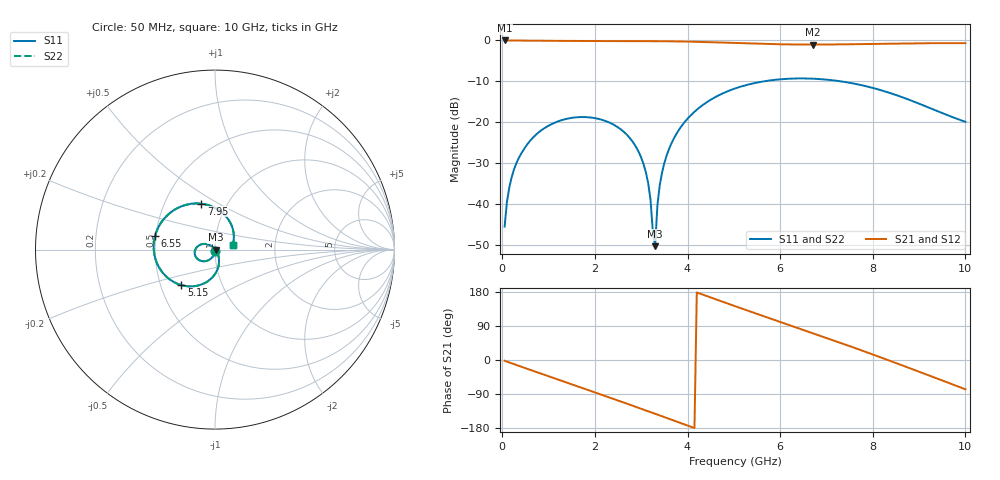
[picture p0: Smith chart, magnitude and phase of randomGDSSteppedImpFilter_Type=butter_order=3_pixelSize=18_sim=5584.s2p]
! freq	dB(S11)	phase(S11)	dB(S12)	phase(S12)
!  dB(S21)	phase(S21)	dB(S22)	phase(S22)
!S-par simulation data
#  GHz  S  DB  R 50
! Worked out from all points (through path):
!   200 points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, 50 MHz to 10 GHz, reference 50 ohm
!   highest |S21| = -0.01 dB at 50 MHz (marker M1); lowest = -1.0 dB at 6.7 GHz (marker M2)
!   group delay of S21, straight-line fit = 121 ps
!   lowest |S11| = -50.4 dB at 3.3 GHz (marker M3), VSWR 1.01, Z = 50.3 - j0.0599 ohm
!   |S11| at or under -10 dB: start of sweep to 5.653 GHz; 7.301 GHz to end of sweep
!   |S22| runs from -49.4 to -9.3 dB; largest |S21 - S12| = 0
!   S11 on the Smith chart (normalised r, x): 50 MHz: 1.00, -0.01; 5.15 GHz: 0.64, -0.27; 6.55 GHz: 0.49, +0.08; 7.95 GHz: 0.76, +0.42; 10 GHz: 1.22, +0.06
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0.05  -45.57 -91.6  -0.01 -2.2  -0.01 -2.2  -45.57 -91.6
0.2  -33.59 -98.2  -0.02 -8.7  -0.02 -8.7  -33.59 -98.2
0.5  -26.06 -111.9  -0.04 -21.6  -0.04 -21.6  -26.06 -111.9
1.05  -20.56 -136.1  -0.09 -45.1  -0.09 -45.1  -20.56 -136.2
1.75  -18.75 -166.1  -0.14 -74.9  -0.14 -74.9  -18.75 -166.2
2.45  -20.92 163.8  -0.15 -104.8  -0.15 -104.8  -20.92 163.5
2.9  -26.30 143.6  -0.15 -124.3  -0.15 -124.3  -26.30 143.0
3.15  -34.92 130.1  -0.16 -135.3  -0.16 -135.3  -34.90 128.3
3.3  -50.35 -11.3  -0.17 -141.9  -0.17 -141.9  -49.38 -6.1
3.35  -40.29 -46.9  -0.18 -144.1  -0.18 -144.1  -40.19 -43.2
3.4  -35.46 -52.6  -0.18 -146.3  -0.18 -146.3  -35.43 -50.4
3.6  -26.58 -64.2  -0.20 -155.1  -0.20 -155.1  -26.57 -63.4
3.9  -20.52 -78.3  -0.26 -168.5  -0.26 -168.5  -20.52 -77.8
5.05  -11.67 -129.1  -0.64 141.0  -0.64 141.0  -11.67 -128.9
5.15  -11.30 -133.3  -0.68 136.7  -0.68 136.7  -11.30 -133.2
5.85  -9.69 -163.0  -0.91 106.9  -0.91 106.9  -9.69 -162.9
6.55  -9.31 167.5  -1.01 77.4  -1.01 77.4  -9.31 167.6
6.7  -9.36 161.1  -1.01 71.1  -1.01 71.1  -9.36 161.2
7.95  -11.47 106.5  -0.85 16.8  -0.85 16.8  -11.48 106.5
8.35  -12.79 88.3  -0.78 -1.2  -0.78 -1.2  -12.79 88.2
9.1  -15.93 53.8  -0.68 -35.5  -0.68 -35.5  -15.93 53.5
10  -19.92 14.0  -0.67 -77.3  -0.67 -77.3  -19.92 13.4
